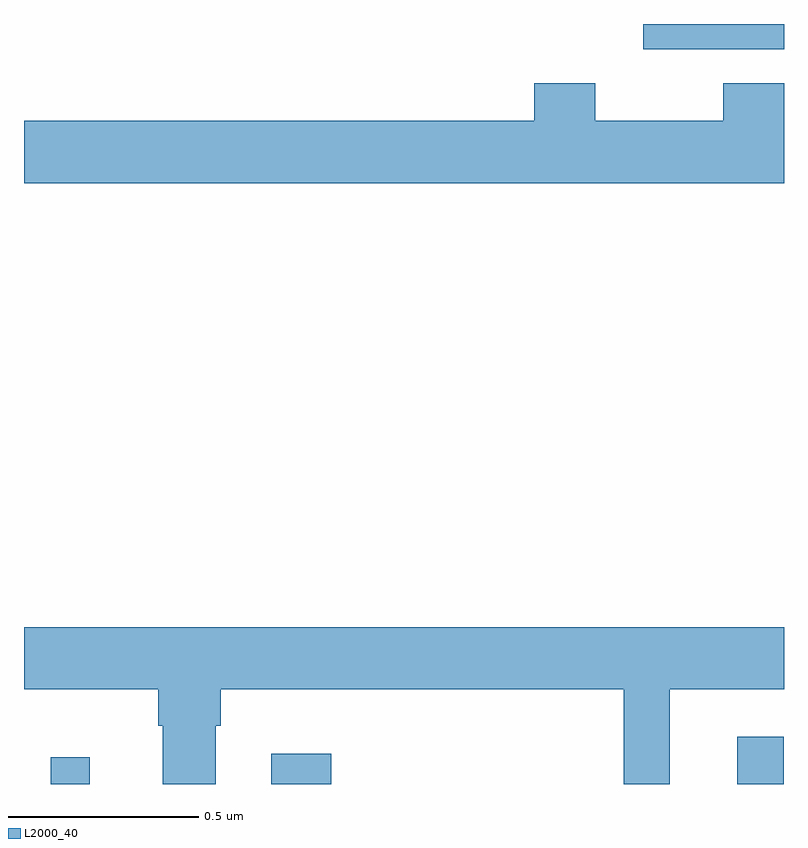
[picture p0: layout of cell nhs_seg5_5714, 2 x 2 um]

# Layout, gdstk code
import gdstk
lib = gdstk.Library(unit=1e-6, precision=1e-09)
def R(c, l, rs):  # rectangles x0, y0, x1, y1
    for r in rs: c.add(gdstk.rectangle(r[:2], r[2:], *l))
def P(c, l, *ps):  # polygons
    for p in ps: c.add(gdstk.Polygon(p, *l))
L2000_40 = (2000, 40)

nhs_seg5_5714 = lib.new_cell('nhs_seg5_5714')
R(nhs_seg5_5714, L2000_40, [(186.07,901.799,186.173,901.87), (186.65,901.799,186.809,901.879), (187.877,901.799,187.999,901.924), (187.63,903.732,188,903.799)])
P(nhs_seg5_5714, L2000_40, [(188,903.643),(187.84,903.643),(187.84,903.544),(187.503,903.544),(187.503,903.643),(187.343,903.643),(187.343,903.544),(186,903.544),(186,903.38),(188,903.38)],
  [(186.505,901.952),(186.518,901.952),(186.518,902.048),(187.578,902.048),(187.578,901.799),(187.699,901.799),(187.699,902.048),(188,902.048),(188,902.212),(186,902.212),(186,902.048),(186.353,902.048),(186.353,901.952),(186.365,901.952),(186.365,901.799),(186.505,901.799)])

lib.write_gds('nhs_seg5_5714.gds')
